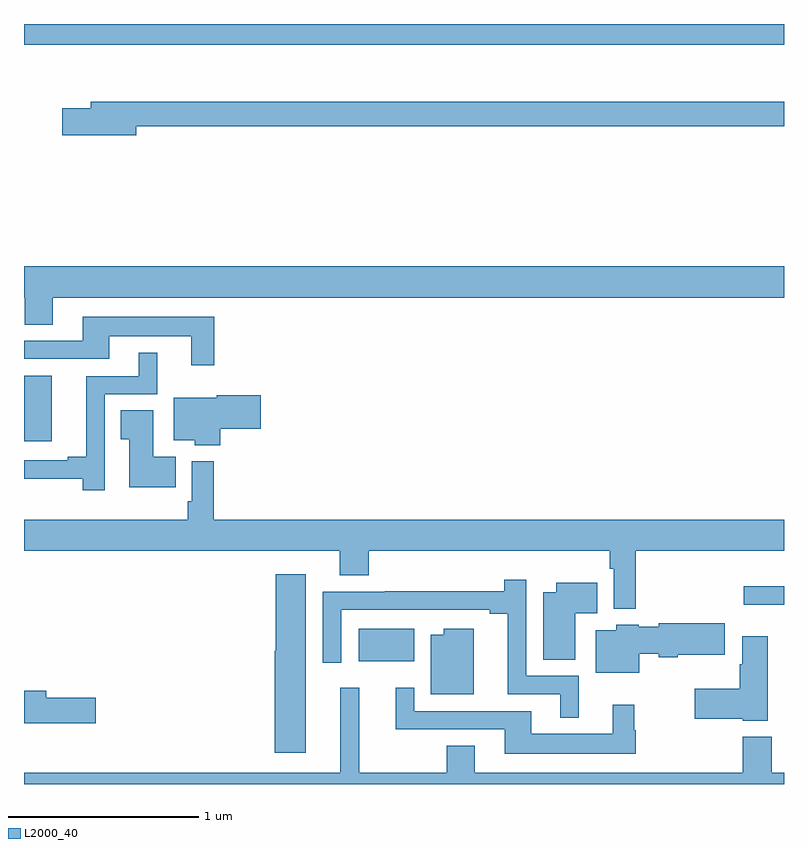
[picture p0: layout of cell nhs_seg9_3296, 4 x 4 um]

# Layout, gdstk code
import gdstk
lib = gdstk.Library(unit=1e-6, precision=1e-09)
def R(c, l, rs):  # rectangles x0, y0, x1, y1
    for r in rs: c.add(gdstk.rectangle(r[:2], r[2:], *l))
def P(c, l, *ps):  # polygons
    for p in ps: c.add(gdstk.Polygon(p, *l))
L2000_40 = (2000, 40)

nhs_seg9_3296 = lib.new_cell('nhs_seg9_3296')
R(nhs_seg9_3296, L2000_40, [(300.761,1221.146,301.054,1221.316), (302.787,1221.444,303,1221.54), (299,1222.304,299.146,1222.648), (299,1224.392,303,1224.5)])
P(nhs_seg9_3296, L2000_40, [(299.59,1223.962),(303,1223.962),(303,1224.091),(299.351,1224.091),(299.351,1224.057),(299.202,1224.057),(299.202,1223.915),(299.59,1223.915)],
  [(299.152,1223.06),(303,1223.06),(303,1223.224),(299,1223.224),(299,1223.06),(299.005,1223.06),(299.005,1222.918),(299.152,1222.918)],
  [(300.001,1222.96),(299.309,1222.96),(299.309,1222.833),(299,1222.833),(299,1222.737),(299.449,1222.737),(299.449,1222.856),(299.879,1222.856),(299.879,1222.704),(300.001,1222.704)],
  [(299.424,1222.551),(299.701,1222.551),(299.701,1222.771),(299.603,1222.771),(299.603,1222.647),(299.327,1222.647),(299.327,1222.223),(299.231,1222.223),(299.231,1222.203),(299,1222.203),(299,1222.106),(299.308,1222.106),(299.308,1222.047),(299.424,1222.047)],
  [(300.032,1222.369),(300.247,1222.369),(300.247,1222.547),(300.015,1222.547),(300.015,1222.534),(299.789,1222.534),(299.789,1222.31),(299.898,1222.31),(299.898,1222.283),(300.032,1222.283)],
  [(299.798,1222.222),(299.68,1222.222),(299.68,1222.466),(299.509,1222.466),(299.509,1222.315),(299.555,1222.315),(299.555,1222.061),(299.798,1222.061)],
  [(302.219,1221.728),(303,1221.728),(303,1221.892),(299.999,1221.892),(299.999,1222.198),(299.883,1222.198),(299.883,1221.988),(299.863,1221.988),(299.863,1221.892),(299,1221.892),(299,1221.728),(300.662,1221.728),(300.662,1221.598),(300.815,1221.598),(300.815,1221.728),(302.083,1221.728),(302.083,1221.632),(302.103,1221.632),(302.103,1221.422),(302.219,1221.422)],
  [(300.484,1221.604),(300.326,1221.604),(300.326,1221.201),(300.32,1221.201),(300.32,1220.664),(300.484,1220.664)],
  [(301.921,1221.069),(301.644,1221.069),(301.644,1221.574),(301.528,1221.574),(301.528,1221.515),(300.898,1221.515),(300.898,1221.513),(300.573,1221.513),(300.573,1221.138),(300.669,1221.138),(300.669,1221.417),(301.451,1221.417),(301.451,1221.397),(301.547,1221.397),(301.547,1220.973),(301.823,1220.973),(301.823,1220.849),(301.921,1220.849)],
  [(301.9,1221.398),(302.018,1221.398),(302.018,1221.559),(301.802,1221.559),(301.802,1221.508),(301.733,1221.508),(301.733,1221.154),(301.9,1221.154)],
  [(302.239,1221.185),(302.34,1221.185),(302.34,1221.167),(302.44,1221.167),(302.44,1221.179),(302.689,1221.179),(302.689,1221.345),(302.34,1221.345),(302.34,1221.327),(302.235,1221.327),(302.235,1221.337),(302.118,1221.337),(302.118,1221.31),(302.009,1221.31),(302.009,1221.086),(302.239,1221.086)],
  [(301.366,1221.316),(301.208,1221.316),(301.208,1221.286),(301.142,1221.286),(301.142,1220.972),(301.366,1220.972)],
  [(302.914,1221.277),(302.78,1221.277),(302.78,1221.131),(302.768,1221.131),(302.768,1221.001),(302.529,1221.001),(302.529,1220.843),(302.784,1220.843),(302.784,1220.834),(302.914,1220.834)],
  [(303,1220.56),(302.935,1220.56),(302.935,1220.749),(302.783,1220.749),(302.783,1220.56),(301.372,1220.56),(301.372,1220.702),(301.225,1220.702),(301.225,1220.56),(300.764,1220.56),(300.764,1221.007),(300.665,1221.007),(300.665,1220.56),(299,1220.56),(299,1220.5),(303,1220.5)],
  [(302.221,1220.784),(302.213,1220.784),(302.213,1220.917),(302.099,1220.917),(302.099,1220.764),(301.669,1220.764),(301.669,1220.883),(301.053,1220.883),(301.053,1221.007),(300.956,1221.007),(300.956,1220.787),(301.529,1220.787),(301.529,1220.66),(302.221,1220.66)],
  [(299.377,1220.954),(299.116,1220.954),(299.116,1220.99),(299,1220.99),(299,1220.819),(299.377,1220.819)])

lib.write_gds('nhs_seg9_3296.gds')
